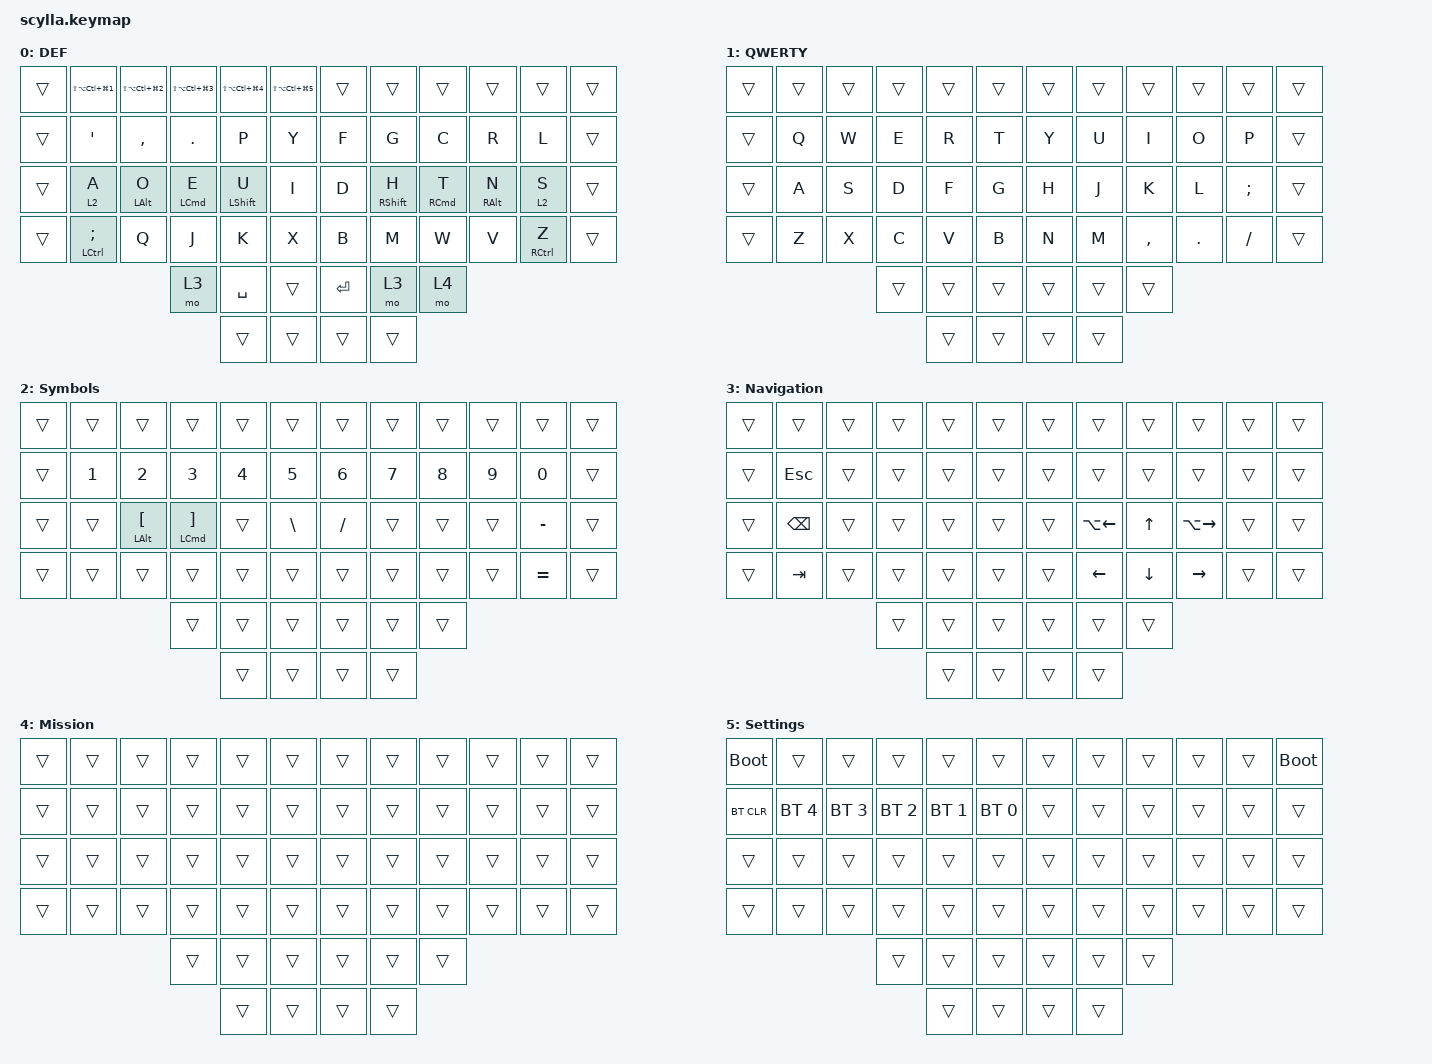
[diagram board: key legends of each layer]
#include <behaviors.dtsi>
#include <dt-bindings/zmk/bt.h>
#include <dt-bindings/zmk/keys.h>
#include <dt-bindings/led/led.h>

#define DEF 0
#define SYM 1
#define NAV 2

//&led_strip {
//    chain-length = <1>;
//};

/ {
    macros {
        ZMK_MACRO(screenshot,

        wait-ms = <30>;
        tap-ms = <40>;
        bindings =
            <&macro_press &kp LGUI &kp LSHIFT>,
            <&macro_tap &kp N5>,
            <&macro_release &kp LSHIFT &kp LGUI>;

        )
    };
};

/ {
    behaviors {
        hm: homerow_mods {
            compatible = "zmk,behavior-hold-tap";
            label = "HOMEROW_MODS";
            bindings =
                <&kp>,
                <&kp>;

            #binding-cells = <2>;
            flavor = "tap-preferred";
            tapping-term-ms = <250>;
        };
    };

    combos {
        compatible = "zmk,combos";

        big_pinky_left {
            bindings = <&mo 5>;
            key-positions = <37 25>;
        };

        big_pinky_right {
            bindings = <&mo 5>;
            key-positions = <46 34>;
        };
    };

    keymap {
        compatible = "zmk,keymap";

        // TODO: Add Switch to NAV-layer on this half

        DEF {
            bindings = <
&trans  &kp LS(LA(LC(LG(NUMBER_1))))  &kp LS(LA(LC(LG(NUMBER_2))))  &kp LS(LA(LC(LG(NUMBER_3))))  &kp LS(LA(LC(LG(NUMBER_4))))  &kp LS(LA(LC(LG(NUMBER_5))))     &trans       &trans      &trans      &trans       &trans  &trans
&trans              &kp SINGLE_QUOTE                     &kp COMMA                    &kp PERIOD                         &kp P                         &kp Y      &kp F        &kp G       &kp C       &kp R        &kp L  &trans
&trans                       &lt 2 A                    &hm LALT O                    &hm LCMD E                   &hm LSHFT U                         &kp I      &kp D  &hm RSHFT H  &hm RCMD T  &hm RALT N      &lt 2 S  &trans
&trans           &hm LCTRL SEMICOLON                         &kp Q                         &kp J                         &kp K                         &kp X      &kp B        &kp M       &kp W       &kp V  &hm RCTRL Z  &trans
                                                                                           &mo 3                     &kp SPACE                        &trans  &kp ENTER        &mo 3       &mo 4
                                                                                                                        &trans                        &trans     &trans       &trans
            >;
        };

        QWERTY {
            bindings = <
&trans  &trans  &trans  &trans  &trans  &trans  &trans  &trans     &trans   &trans         &trans  &trans
&trans   &kp Q   &kp W   &kp E   &kp R   &kp T   &kp Y   &kp U      &kp I    &kp O          &kp P  &trans
&trans   &kp A   &kp S   &kp D   &kp F   &kp G   &kp H   &kp J      &kp K    &kp L  &kp SEMICOLON  &trans
&trans   &kp Z   &kp X   &kp C   &kp V   &kp B   &kp N   &kp M  &kp COMMA  &kp DOT      &kp SLASH  &trans
                        &trans  &trans  &trans  &trans  &trans     &trans
                                &trans  &trans  &trans  &trans
            >;
        };

        // TODO: Add nav-keys on this layer

        Symbols {
            bindings = <
&trans        &trans                     &trans                  &trans        &trans         &trans        &trans        &trans        &trans        &trans        &trans  &trans
&trans  &kp NUMBER_1               &kp NUMBER_2            &kp NUMBER_3  &kp NUMBER_4   &kp NUMBER_5  &kp NUMBER_6  &kp NUMBER_7  &kp NUMBER_8  &kp NUMBER_9  &kp NUMBER_0  &trans
&trans        &trans  &hm LEFT_ALT LEFT_BRACKET  &hm LCMD RIGHT_BRACKET        &trans  &kp BACKSLASH     &kp SLASH        &trans        &trans        &trans     &kp MINUS  &trans
&trans        &trans                     &trans                  &trans        &trans         &trans        &trans        &trans        &trans        &trans     &kp EQUAL  &trans
                                                                 &trans        &trans         &trans        &trans        &trans        &trans
                                                                               &trans         &trans        &trans        &trans
            >;
        };

        Navigation {
            bindings = <
&trans         &trans  &trans  &trans  &trans  &trans  &trans          &trans        &trans         &trans  &trans  &trans
&trans     &kp ESCAPE  &trans  &trans  &trans  &trans  &trans          &trans        &trans         &trans  &trans  &trans
&trans  &kp BACKSPACE  &trans  &trans  &trans  &trans  &trans    &kp LA(LEFT)  &kp UP_ARROW  &kp LA(RIGHT)  &trans  &trans
&trans        &kp TAB  &trans  &trans  &trans  &trans  &trans  &kp LEFT_ARROW      &kp DOWN      &kp RIGHT  &trans  &trans
                               &trans  &trans  &trans  &trans          &trans        &trans
                                       &trans  &trans  &trans          &trans
            >;
        };

        Mission {
            bindings = <
&trans  &trans  &trans  &trans  &trans  &trans  &trans  &trans  &trans  &trans  &trans  &trans
&trans  &trans  &trans  &trans  &trans  &trans  &trans  &trans  &trans  &trans  &trans  &trans
&trans  &trans  &trans  &trans  &trans  &trans  &trans  &trans  &trans  &trans  &trans  &trans
&trans  &trans  &trans  &trans  &trans  &trans  &trans  &trans  &trans  &trans  &trans  &trans
                        &trans  &trans  &trans  &trans  &trans  &trans
                                &trans  &trans  &trans  &trans
            >;
        };

        Settings {
            bindings = <
&bootloader        &trans        &trans        &trans        &trans        &trans  &trans  &trans  &trans  &trans  &trans  &bootloader
 &bt BT_CLR  &bt BT_SEL 4  &bt BT_SEL 3  &bt BT_SEL 2  &bt BT_SEL 1  &bt BT_SEL 0  &trans  &trans  &trans  &trans  &trans       &trans
     &trans        &trans        &trans        &trans        &trans        &trans  &trans  &trans  &trans  &trans  &trans       &trans
     &trans        &trans        &trans        &trans        &trans        &trans  &trans  &trans  &trans  &trans  &trans       &trans
                                               &trans        &trans        &trans  &trans  &trans  &trans
                                                             &trans        &trans  &trans  &trans
            >;
        };
    };
};
